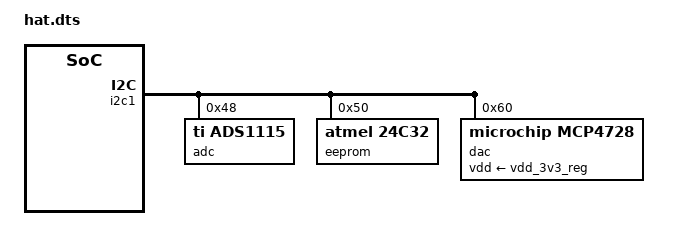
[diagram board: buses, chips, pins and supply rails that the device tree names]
// SPDX-FileCopyrightText: 2026 The weft authors
// SPDX-License-Identifier: MIT
//
// A Raspberry Pi style overlay for a small HAT on i2c1: ADS1115 ADC (ADDR to GND, 0x48),
// 24C32 EEPROM (0x50) and MCP4728 DAC (0x60) on the Pi's 3.3 V rail.
/dts-v1/;
/plugin/;

&i2c1 {
	#address-cells = <1>;
	#size-cells = <0>;
	status = "okay";

	adc: adc@48 {
		compatible = "ti,ads1115";
		reg = <0x48>;
	};

	eeprom: eeprom@50 {
		compatible = "atmel,24c32";
		reg = <0x50>;
	};

	dac: dac@60 {
		compatible = "microchip,mcp4728";
		reg = <0x60>;
		vdd-supply = <&vdd_3v3_reg>;
	};
};
